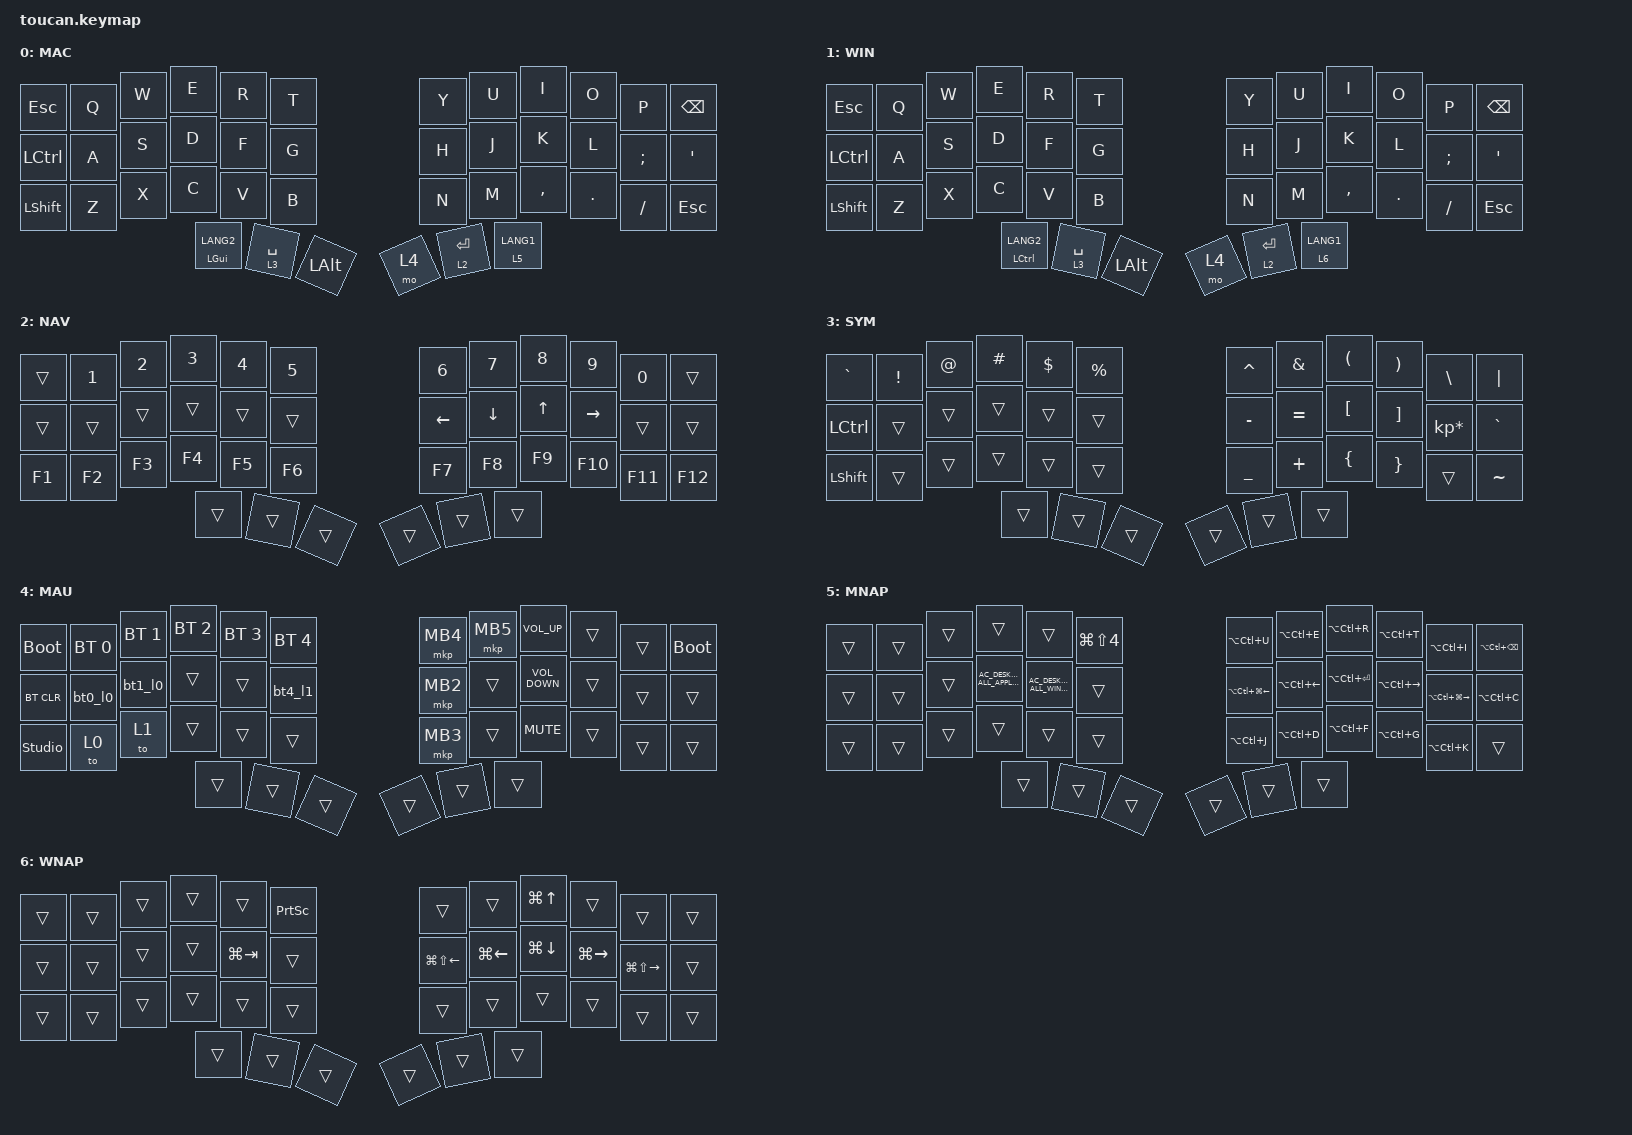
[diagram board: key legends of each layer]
#include <behaviors.dtsi>
#include <dt-bindings/zmk/bt.h>
#include <dt-bindings/zmk/keys.h>
#include <dt-bindings/zmk/pointing.h>

#define BASE 0
#define WIN  1
#define NAV  2
#define SYM  3
#define MAU  4
#define MNAP 5
#define WNAP 6

/ {
    // 既存のhold-tap設定を上書き

    behaviors {
        // モッドタップ（&mt）の設定を上書き

        mt: mod_tap {
            compatible = "zmk,behavior-hold-tap";
            #binding-cells = <2>;
            flavor = "balanced";
            tapping-term-ms = <200>;
            quick-tap-ms = <175>;
            require-prior-idle-ms = <150>;
            bindings = <&kp>, <&kp>;

            hold-trigger-on-release;
        };

        // レイヤータップ（&lt）の設定を上書き

        lt: layer_tap {
            compatible = "zmk,behavior-hold-tap";
            #binding-cells = <2>;
            flavor = "balanced";
            tapping-term-ms = <200>;
            quick-tap-ms = <175>;
            require-prior-idle-ms = <150>;
            bindings = <&mo>, <&kp>;

            hold-while-undecided;
        };
    };

    macros {
        bt0_l0: bt0_l0 {
            compatible = "zmk,behavior-macro";
            #binding-cells = <0>;
            bindings = <&bt BT_SEL 0 &to 0>;
            label = "BT0_L0";
        };

        bt4_l1: bt4_l1 {
            compatible = "zmk,behavior-macro";
            #binding-cells = <0>;
            bindings = <&bt BT_SEL 4 &to 1>;
            label = "BT4_L1";
        };

        bt1_l0: bt1_l1 {
            compatible = "zmk,behavior-macro";
            #binding-cells = <0>;
            bindings = <&bt BT_SEL 1 &to 0>;
            label = "BT1_L1";
        };
    };

    combos {
        compatible = "zmk,combos";

        tab {
            bindings = <&kp TAB>;
            key-positions = <15 16>;
        };

        stab {
            bindings = <&kp LS(TAB)>;
            key-positions = <14 15>;
        };

        caps {
            bindings = <&caps_word>;
            key-positions = <16 19>;
        };
    };

    keymap {
        compatible = "zmk,keymap";

        mac {
            display-name = "MAC";
            bindings = <
&kp ESCAPE  &kp Q  &kp W  &kp E  &kp R  &kp T  &kp Y  &kp U  &kp I  &kp O  &kp P  &kp BSPC  &kp LCTRL  &kp A  &kp S  &kp D  &kp F  &kp G  &kp H  &kp J  &kp K  &kp L  &kp SEMI  &kp SQT  &kp LSHFT  &kp Z  &kp X  &kp C  &kp V  &kp B  &kp N  &kp M  &kp COMMA  &kp DOT  &kp FSLH  &kp ESC  &mt LGUI LANG2  &lt 3 SPACE  &kp LEFT_ALT  &mo 4  &lt 2 ENTER  &lt 5 LANG1
            >;
        };

        win {
            display-name = "WIN";
            bindings = <
&kp ESCAPE  &kp Q  &kp W  &kp E  &kp R  &kp T  &kp Y  &kp U  &kp I  &kp O  &kp P  &kp BSPC  &kp LCTRL  &kp A  &kp S  &kp D  &kp F  &kp G  &kp H  &kp J  &kp K  &kp L  &kp SEMI  &kp SQT  &kp LSHFT  &kp Z  &kp X  &kp C  &kp V  &kp B  &kp N  &kp M  &kp COMMA  &kp DOT  &kp FSLH  &kp ESC  &mt LCTRL LANG2  &lt 3 SPACE  &kp LEFT_ALT  &mo 4  &lt 2 ENTER  &lt 6 LANG1
            >;
        };

        nav {
            display-name = "NAV";
            bindings = <
&trans  &kp N1  &kp N2  &kp N3  &kp N4  &kp N5  &kp N6  &kp N7  &kp N8  &kp N9  &kp N0  &trans  &trans  &trans  &trans  &trans  &trans  &trans  &kp LEFT  &kp DOWN  &kp UP  &kp RIGHT  &trans  &trans  &kp F1  &kp F2  &kp F3  &kp F4  &kp F5  &kp F6  &kp F7  &kp F8  &kp F9  &kp F10  &kp F11  &kp F12  &trans  &trans  &trans  &trans  &trans  &trans
            >;
        };

        sym {
            display-name = "SYM";
            bindings = <
&kp GRAVE  &kp EXCL  &kp AT  &kp HASH  &kp DLLR  &kp PRCNT  &kp CARET  &kp AMPS  &kp LPAR  &kp RPAR  &kp BSLH  &kp PIPE  &kp LCTRL  &trans  &trans  &trans  &trans  &trans  &kp MINUS  &kp EQUAL  &kp LBKT  &kp RBKT  &kp KP_MULTIPLY  &kp GRAVE  &kp LSHFT  &trans  &trans  &trans  &trans  &trans  &kp UNDER  &kp PLUS  &kp LBRC  &kp RBRC  &trans  &kp TILDE  &trans  &trans  &trans  &trans  &trans  &trans
            >;
        };

        mau {
            bindings = <
&bootloader  &bt BT_SEL 0  &bt BT_SEL 1  &bt BT_SEL 2  &bt BT_SEL 3  &bt BT_SEL 4  &mkp MB4  &mkp MB5  &kp C_VOLUME_UP  &trans  &trans  &bootloader  &bt BT_CLR  &bt0_l0  &bt1_l0  &trans  &trans  &bt4_l1  &mkp MB2  &trans  &kp C_VOLUME_DOWN  &trans  &trans  &trans  &studio_unlock  &to 0  &to 1  &trans  &trans  &trans  &mkp MB3  &trans  &kp C_MUTE  &trans  &trans  &trans  &trans  &trans  &trans  &trans  &trans  &trans
            >;

            label = "MAU";
        };

        mnap {
            bindings = <
&trans  &trans  &trans  &trans  &trans  &kp LG(LS(NUMBER_4))  &kp LA(LC(U))  &kp LA(LC(E))  &kp LA(LC(R))  &kp LA(LC(T))  &kp LA(LC(I))  &kp LA(LC(BACKSPACE))  &trans  &trans  &trans  &kp C_AC_DESKTOP_SHOW_ALL_APPLICATIONS  &kp C_AC_DESKTOP_SHOW_ALL_WINDOWS  &trans  &kp LA(LC(LG(LEFT)))  &kp LA(LC(LEFT))  &kp LA(LC(ENTER))  &kp LA(LC(RIGHT))  &kp LA(LC(LG(RIGHT)))  &kp LA(LC(C))  &trans  &trans  &trans  &trans  &trans  &trans  &kp LA(LC(J))  &kp LA(LC(D))  &kp LA(LC(F))  &kp LA(LC(G))  &kp LA(LC(K))  &trans  &trans  &trans  &trans  &trans  &trans  &trans
            >;

            label = "MNAP";
        };

        wnap {
            bindings = <
&trans  &trans  &trans  &trans  &trans  &kp PRINTSCREEN  &trans  &trans  &kp LG(UP)  &trans  &trans  &trans  &trans  &trans  &trans  &trans  &kp LG(TAB)  &trans  &kp LG(LS(LEFT))  &kp LG(LEFT)  &kp LG(DOWN)  &kp LG(RIGHT)  &kp LG(LS(RIGHT))  &trans  &trans  &trans  &trans  &trans  &trans  &trans  &trans  &trans  &trans  &trans  &trans  &trans  &trans  &trans  &trans  &trans  &trans  &trans
            >;

            label = "WNAP";
        };
    };
};
